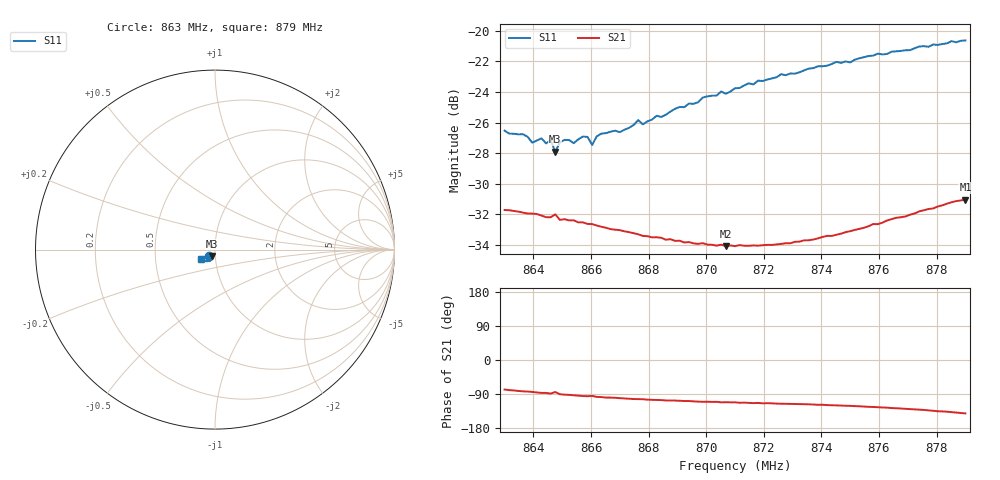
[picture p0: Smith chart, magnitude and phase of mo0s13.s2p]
# HZ S RI R 50
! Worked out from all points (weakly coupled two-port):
!   101 points, 863 MHz to 879 MHz, reference 50 ohm
!   highest |S21| = -31.04 dB at 879 MHz (marker M1); lowest = -34.1 dB at 870.68 MHz (marker M2)
!   lowest |S11| = -27.9 dB at 864.76 MHz (marker M3), VSWR 1.08, Z = 48 - j3.4 ohm
!   |S11| at or under -10 dB: start of sweep to end of sweep
!   S12 and S22 are empty: the file has one direction only
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8.63e8  -0.0328 -0.0339  0.00542 -0.0254  0 0  0 0
8.6364e8  -0.0304 -0.0343  0.00321 -0.0252  0 0  0 0
8.6396e8  -0.0276 -0.033  0.00253 -0.0251  0 0  0 0
8.6428e8  -0.0268 -0.0355  0.00138 -0.0248  0 0  0 0
8.646e8  -0.0254 -0.0357  0.000588 -0.0245  0 0  0 0
8.6476e8  -0.0192 -0.0353  0.00245 -0.025  0 0  0 0
8.6492e8  -0.024 -0.0358  -0.000141 -0.0241  0 0  0 0
8.654e8  -0.022 -0.0368  -0.0013 -0.024  0 0  0 0
8.6572e8  -0.0212 -0.0398  -0.00211 -0.0235  0 0  0 0
8.6588e8  -0.0214 -0.0395  -0.00225 -0.0232  0 0  0 0
8.6604e8  -0.0199 -0.0373  -0.00191 -0.0232  0 0  0 0
8.6636e8  -0.0209 -0.0411  -0.0031 -0.0226  0 0  0 0
8.67e8  -0.0193 -0.0424  -0.00413 -0.0219  0 0  0 0
8.6764e8  -0.0209 -0.0465  -0.00495 -0.021  0 0  0 0
8.678e8  -0.0187 -0.0458  -0.00496 -0.0207  0 0  0 0
8.6844e8  -0.0189 -0.0487  -0.00571 -0.0202  0 0  0 0
8.6988e8  -0.0217 -0.0565  -0.00702 -0.019  0 0  0 0
8.7068e8  -0.0239 -0.0574  -0.00719 -0.0184  0 0  0 0
8.71e8  -0.0263 -0.0593  -0.0073 -0.0184  0 0  0 0
8.7372e8  -0.0397 -0.0642  -0.00959 -0.0184  0 0  0 0
8.7644e8  -0.058 -0.0627  -0.0145 -0.0194  0 0  0 0
8.79e8  -0.0757 -0.054  -0.0218 -0.0177  0 0  0 0
